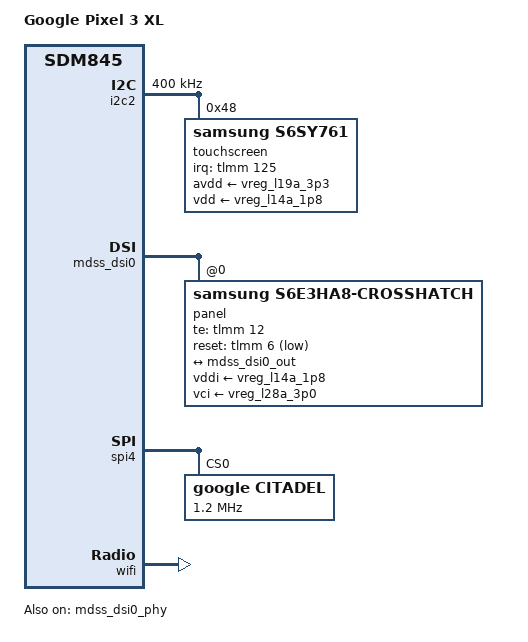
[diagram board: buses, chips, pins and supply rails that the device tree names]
// SPDX-License-Identifier: GPL-2.0-only

/dts-v1/;

#include "sdm845-google-common.dtsi"

/ {
	model = "Google Pixel 3 XL";
	compatible = "google,crosshatch", "qcom,sdm845";
};

&battery {
	charge-full-design-microamp-hours = <3480000>;
	voltage-min-design-microvolt = <3600000>;
	voltage-max-design-microvolt = <4400000>;
};

&framebuffer0 {
	width = <1440>;
	height = <2960>;
	stride = <(1440 * 4)>;
};

&dispcc {
	/* Neither PHY clock provider is needed while DISPCC registers. */
	post-init-providers = <&mdss_dsi0_phy>, <&usb_1_qmpphy>;
};

&i2c2 {
	clock-frequency = <400000>;

	status = "okay";

	touchscreen@48 {
		compatible = "samsung,s6sy761";
		reg = <0x48>;

		interrupt-parent = <&tlmm>;
		interrupts = <125 IRQ_TYPE_LEVEL_LOW>;

		avdd-supply = <&vreg_l19a_3p3>;
		vdd-supply = <&vreg_l14a_1p8>;

		pinctrl-0 = <&touchscreen_irq_n>, <&touchscreen_reset>,
			    <&touchscreen_switch>;
		pinctrl-names = "default";

		touchscreen-size-x = <1440>;
		touchscreen-size-y = <2960>;
	};
};

&mdss_dsi0 {
	vdda-supply = <&vdda_mipi_dsi0_1p2>;

	status = "okay";

	panel@0 {
		compatible = "samsung,s6e3ha8-crosshatch";
		reg = <0>;

		vddi-supply = <&vreg_l14a_1p8>;
		vci-supply = <&vreg_l28a_3p0>;

		te-gpios = <&tlmm 12 GPIO_ACTIVE_HIGH>;
		reset-gpios = <&tlmm 6 GPIO_ACTIVE_LOW>;

		pinctrl-0 = <&panel_default>;
		pinctrl-names = "default";

		port {
			panel_in: endpoint {
				remote-endpoint = <&mdss_dsi0_out>;
			};
		};
	};
};

&mdss_dsi0_out {
	data-lanes = <0 1 2 3>;
	remote-endpoint = <&panel_in>;
	qcom,te-source = "mdp_vsync_e";
};

&mdss_dsi0_phy {
	vdds-supply = <&vdda_mipi_dsi0_pll>;

	status = "okay";
};

&spi4 {
	status = "okay";

	citadel@0 {
		compatible = "google,citadel";
		reg = <0>;
		spi-max-frequency = <1200000>;
	};
};

&tlmm {
	panel_default: panel-default-state {
		reset-pins {
			pins = "gpio6";
			function = "gpio";
			drive-strength = <8>;
			bias-disable;
		};

		te-pins {
			pins = "gpio12";
			function = "mdp_vsync";
			drive-strength = <2>;
			bias-pull-down;
		};
	};

	touchscreen_switch: ts-switch-state {
		pins = "gpio136";
		function = "gpio";
		drive-strength = <2>;
		bias-disable;
		output-high;
	};
};

&touchscreen_reset {
	output-high;
};

&wifi {
	qcom,calibration-variant = "Google_crosshatch";
};
